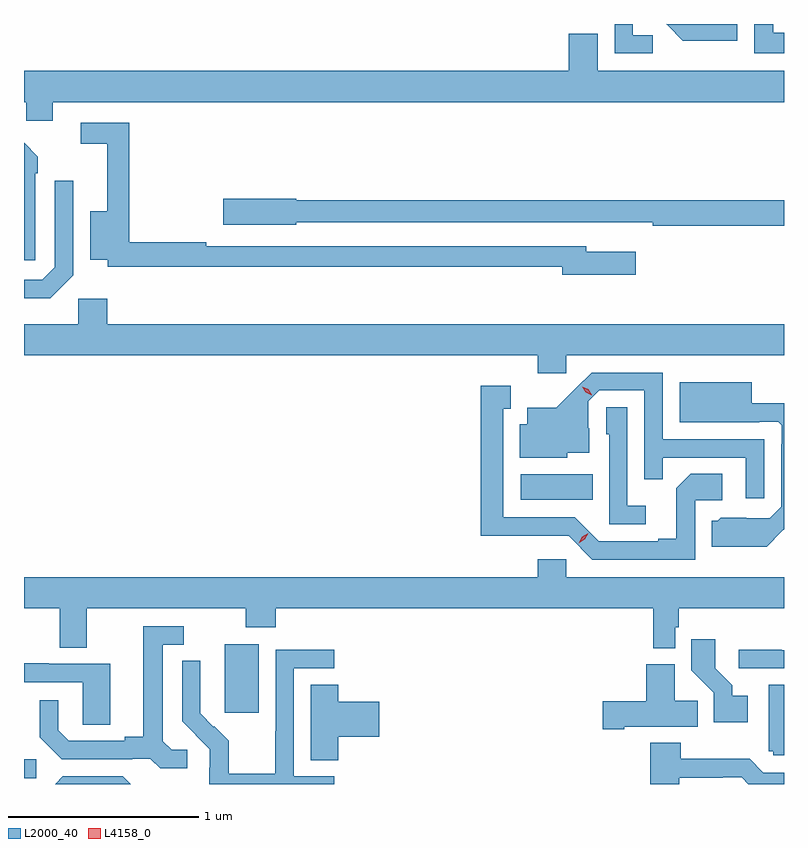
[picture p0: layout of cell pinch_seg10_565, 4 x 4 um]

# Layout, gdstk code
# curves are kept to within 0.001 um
import gdstk
lib = gdstk.Library(unit=1e-6, precision=1e-09)
def R(c, l, rs):  # rectangles x0, y0, x1, y1
    for r in rs: c.add(gdstk.rectangle(r[:2], r[2:], *l))
def P(c, l, *ps):  # polygons
    for p in ps: c.add(gdstk.Polygon(p, *l))
L2000_40 = (2000, 40)
L4158_0 = (4158, 0)

pinch_seg10_565 = lib.new_cell('pinch_seg10_565')
R(pinch_seg10_565, L2000_40, [(362.978,1274.113,363.043,1274.214), (364.034,1274.457,364.213,1274.818), (365.592,1275.578,365.972,1275.712)])
P(pinch_seg10_565, L2000_40, [(366.733,1278.083),(366.359,1278.083),(366.365,1278.077),(366.445,1277.996),(366.733,1277.996)],
  [(366.978,1278.037),(366.921,1278.037),(366.921,1278.083),(366.822,1278.083),(366.822,1277.928),(366.978,1277.928)],
  [(366.286,1278.024),(366.183,1278.024),(366.183,1278.083),(366.087,1278.083),(366.087,1277.928),(366.286,1277.928)],
  [(363.13,1277.672),(366.978,1277.672),(366.978,1277.836),(365.998,1277.836),(365.998,1278.031),(365.846,1278.031),(365.846,1277.836),(362.978,1277.836),(362.978,1277.672),(362.991,1277.672),(362.991,1277.574),(363.13,1277.574)],
  [(366.199,1276.885),(365.938,1276.885),(365.938,1276.914),(363.938,1276.914),(363.938,1276.934),(363.533,1276.934),(363.533,1277.562),(363.276,1277.562),(363.276,1277.454),(363.416,1277.454),(363.416,1277.098),(363.326,1277.098),(363.326,1276.841),(363.42,1276.841),(363.42,1276.806),(365.81,1276.806),(365.81,1276.763),(366.199,1276.763)],
  [(363.036,1277.297),(363.051,1277.297),(363.051,1277.385),(362.978,1277.458),(362.978,1276.839),(363.036,1276.839)],
  [(363.237,1276.761),(363.237,1277.257),(363.141,1277.257),(363.141,1276.803),(363.075,1276.737),(362.978,1276.737),(362.978,1276.64),(363.116,1276.64)],
  [(366.978,1277.156),(364.41,1277.156),(364.41,1277.162),(364.026,1277.162),(364.026,1277.027),(364.41,1277.027),(364.41,1277.04),(366.034,1277.04),(366.034,1277.039),(366.286,1277.039),(366.286,1277.02),(366.978,1277.02)],
  [(365.832,1276.34),(366.978,1276.34),(366.978,1276.504),(363.416,1276.504),(363.416,1276.636),(363.264,1276.636),(363.264,1276.504),(362.978,1276.504),(362.978,1276.34),(365.681,1276.34),(365.681,1276.245),(365.832,1276.245)],
  [(366.873,1275.897),(366.339,1275.897),(366.339,1276.248),(365.966,1276.248),(365.779,1276.063),(365.627,1276.063),(365.627,1275.976),(365.588,1275.976),(365.588,1275.8),(365.838,1275.8),(365.838,1275.827),(365.953,1275.827),(365.953,1275.956),(365.949,1275.956),(365.949,1276.098),(366.006,1276.155),(366.243,1276.155),(366.243,1275.688),(366.341,1275.688),(366.341,1275.801),(366.777,1275.801),(366.777,1275.588),(366.873,1275.588)],
  [(366.967,1275.413),(366.978,1275.424),(366.978,1276.087),(366.808,1276.087),(366.808,1276.198),(366.428,1276.198),(366.428,1275.986),(366.848,1275.986),(366.848,1275.99),(366.948,1275.99),(366.966,1275.972),(366.966,1275.872),(366.963,1275.872),(366.963,1275.543),(366.903,1275.483),(366.646,1275.484),(366.63,1275.468),(366.599,1275.468),(366.599,1275.332),(366.887,1275.332)],
  [(366.51,1275.576),(366.652,1275.576),(366.652,1275.716),(366.487,1275.716),(366.411,1275.64),(366.411,1275.373),(366.317,1275.373),(366.317,1275.36),(366.003,1275.36),(365.877,1275.486),(365.5,1275.486),(365.5,1276.059),(365.539,1276.059),(365.539,1276.18),(365.382,1276.18),(365.382,1275.389),(365.844,1275.39),(365.97,1275.264),(366.51,1275.264)],
  [(366.25,1275.547),(366.153,1275.547),(366.153,1276.067),(366.042,1276.067),(366.042,1275.924),(366.057,1275.924),(366.057,1275.45),(366.25,1275.45)],
  [(366.405,1274.907),(366.425,1274.907),(366.425,1275.008),(366.978,1275.008),(366.978,1275.172),(365.832,1275.172),(365.832,1275.265),(365.681,1275.265),(365.681,1275.172),(362.978,1275.172),(362.978,1275.008),(363.167,1275.008),(363.167,1274.8),(363.307,1274.8),(363.307,1275.008),(364.144,1275.008),(364.144,1274.909),(364.304,1274.909),(364.304,1275.008),(366.289,1275.008),(366.289,1274.798),(366.405,1274.798)],
  [(363.838,1274.262),(363.756,1274.262),(363.709,1274.309),(363.709,1274.817),(363.82,1274.817),(363.82,1274.913),(363.605,1274.913),(363.605,1274.333),(363.509,1274.333),(363.509,1274.31),(363.214,1274.31),(363.157,1274.367),(363.157,1274.524),(363.06,1274.524),(363.06,1274.33),(363.176,1274.214),(363.548,1274.214),(363.548,1274.217),(363.642,1274.217),(363.694,1274.165),(363.838,1274.165)],
  [(366.787,1274.548),(366.706,1274.548),(366.706,1274.603),(366.616,1274.693),(366.616,1274.845),(366.49,1274.845),(366.49,1274.682),(366.609,1274.563),(366.609,1274.408),(366.787,1274.408)],
  [(366.978,1274.787),(366.965,1274.787),(366.965,1274.79),(366.741,1274.79),(366.741,1274.691),(366.978,1274.691)],
  [(364.612,1274.124),(364.398,1274.124),(364.398,1274.691),(364.612,1274.691),(364.612,1274.79),(364.302,1274.79),(364.302,1274.36),(364.3,1274.36),(364.3,1274.137),(364.055,1274.137),(364.055,1274.311),(363.978,1274.388),(363.975,1274.385),(363.905,1274.456),(363.906,1274.732),(363.81,1274.732),(363.81,1274.414),(363.956,1274.266),(363.956,1274.169),(363.954,1274.169),(363.954,1274.083),(364.612,1274.083)],
  [(363.433,1274.715),(363.109,1274.715),(363.109,1274.719),(362.978,1274.719),(362.978,1274.619),(363.288,1274.619),(363.288,1274.395),(363.433,1274.395)],
  [(366.136,1274.384),(366.524,1274.384),(366.524,1274.522),(366.403,1274.522),(366.403,1274.713),(366.254,1274.713),(366.254,1274.519),(366.024,1274.519),(366.024,1274.372),(366.136,1274.372)],
  [(364.631,1274.333),(364.849,1274.333),(364.849,1274.516),(364.631,1274.516),(364.631,1274.606),(364.487,1274.606),(364.487,1274.209),(364.631,1274.209)],
  [(366.978,1274.605),(366.899,1274.605),(366.899,1274.256),(366.921,1274.256),(366.921,1274.235),(366.978,1274.235)],
  [(366.427,1274.115),(366.656,1274.115),(366.656,1274.118),(366.756,1274.118),(366.791,1274.083),(366.978,1274.083),(366.978,1274.142),(366.87,1274.142),(366.797,1274.215),(366.435,1274.215),(366.435,1274.299),(366.275,1274.299),(366.275,1274.083),(366.427,1274.083)],
  [(363.498,1274.124),(363.183,1274.124),(363.142,1274.083),(363.539,1274.083)])
P(pinch_seg10_565, L4158_0, [(365.965,1276.13),(365.934,1276.145),(365.916,1276.175),(365.916,1276.175),(365.916,1276.175),(365.947,1276.16),(365.965,1276.131),(365.965,1276.13)],
  [(365.897,1275.351),(365.897,1275.351),(365.915,1275.384),(365.947,1275.403),(365.947,1275.403),(365.947,1275.403),(365.929,1275.37),(365.898,1275.351)])

lib.write_gds('pinch_seg10_565.gds')
